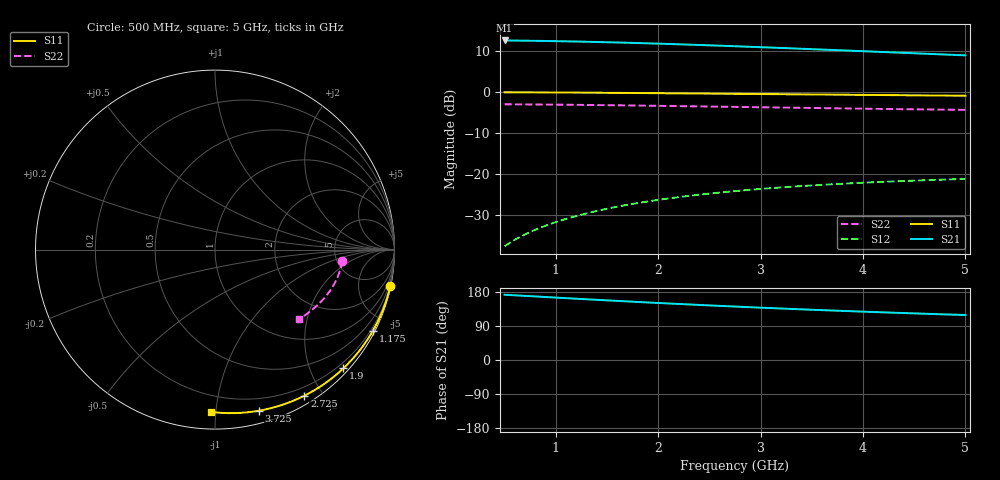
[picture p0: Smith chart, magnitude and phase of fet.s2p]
! FET tin hieu nho (mo hinh noi: Cgs=0.5pF Cgd=0.05pF Cds=0.1pF gm=50mS Rds=300 Ri=4 tau=1ps)
! KHONG THUAN NGHICH: S21 != S12 -> dung de kiem chung thuat toan noi cong
# GHz S RI R 50
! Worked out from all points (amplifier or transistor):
!   181 points, 500 MHz to 5 GHz, reference 50 ohm
!   highest |S21| = 12.6 dB at 500 MHz (marker M1)
!   |S21| within 3 dB of that: start of sweep to 4.383 GHz
!   unconditionally stable (mu >= 1): nowhere
!   at 1.25 GHz: K = 0.05, MSG = 21.0 dB, |S12| = -29.8 dB
!   at 2.75 GHz: K = 0.12, MSG = 17.6 dB, |S12| = -24.1 dB
!   at 5 GHz: K = 0.21, MSG = 15.0 dB, |S12| = -21.1 dB
!   S11 on the Smith chart (normalised r, x): 500 MHz: 0.10, -9.69; 1.175 GHz: 0.10, -4.12; 1.9 GHz: 0.10, -2.55; 2.725 GHz: 0.10, -1.78; 3.725 GHz: 0.10, -1.30; 5 GHz: 0.10, -0.97
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0.5  0.9769 -0.2038  -4.219 0.5752  0.00164 0.0133  0.7091 -0.0629
0.65  0.9613 -0.2627  -4.174 0.741  0.00275 0.0171  0.7057 -0.0813
0.8  0.942 -0.3198  -4.118 0.9018  0.00412 0.0208  0.7014 -0.0993
0.975  0.9152 -0.3838  -4.04 1.082  0.00602 0.0249  0.6954 -0.1198
1.175  0.8794 -0.4529  -3.937 1.276  0.00856 0.0293  0.6873 -0.1424
1.25  0.8647 -0.4776  -3.894 1.345  0.0096 0.0309  0.684 -0.1506
1.575  0.7942 -0.5766  -3.69 1.622  0.0146 0.0371  0.6682 -0.1844
1.9  0.7153 -0.6615  -3.462 1.857  0.0202 0.0423  0.6503 -0.2152
2  0.6898 -0.6847  -3.388 1.921  0.022 0.0437  0.6444 -0.2241
2.175  0.6443 -0.7221  -3.257 2.024  0.0252 0.0459  0.634 -0.2389
2.35  0.598 -0.7554  -3.123 2.115  0.0284 0.0479  0.6234 -0.2529
2.525  0.5513 -0.7849  -2.988 2.195  0.0317 0.0495  0.6125 -0.2661
2.725  0.498 -0.814  -2.834 2.272  0.0355 0.0511  0.6001 -0.2801
2.75  0.4913 -0.8173  -2.815 2.281  0.0359 0.0512  0.5985 -0.2818
2.925  0.445 -0.8385  -2.682 2.337  0.0392 0.0523  0.5876 -0.2932
3.125  0.3929 -0.8588  -2.531 2.389  0.0428 0.0532  0.5752 -0.3053
3.5  0.2983 -0.8866  -2.259 2.458  0.0494 0.0542  0.5524 -0.3259
3.725  0.2441 -0.8977  -2.103 2.482  0.0532 0.0544  0.5391 -0.3371
3.975  0.1864 -0.9058  -1.937 2.498  0.0572 0.0543  0.5247 -0.3485
4.25  0.1262 -0.9103  -1.765 2.502  0.0613 0.0539  0.5093 -0.3601
4.625  0.0497 -0.9103  -1.546 2.49  0.0666 0.0529  0.4893 -0.3745
5  -0.0202 -0.9047  -1.346 2.461  0.0713 0.0516  0.4703 -0.3876
